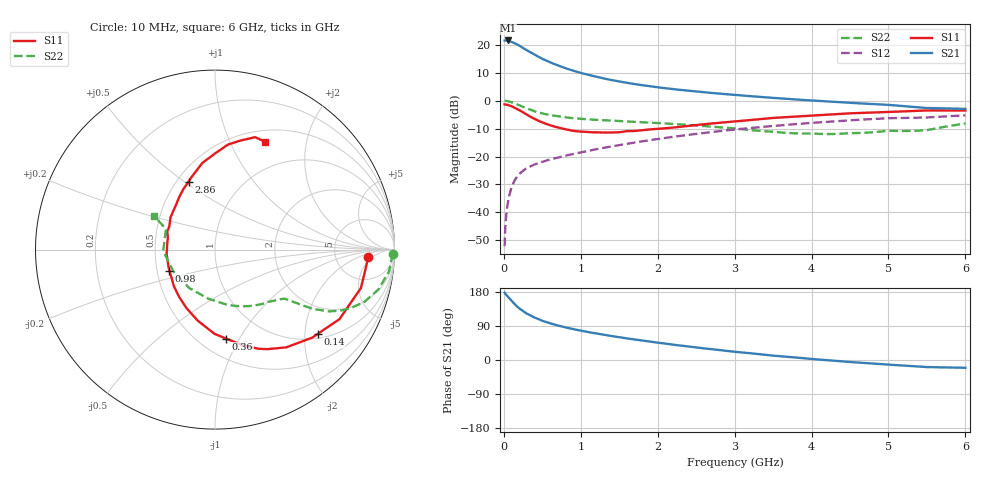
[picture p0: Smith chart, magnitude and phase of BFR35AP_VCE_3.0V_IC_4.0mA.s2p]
! Infineon Technologies  Discrete & RF Semiconductors
! BFR35AP
! VCE =  3.0 V,  IC =  4.0 mA
! Common Emitter S-Parameters:  Nov 2015
# GHz  S  MA  R  50
!  f  S11  S21  S12  S22
! GHz  MAG  ANG  MAG  ANG  MAG  ANG  MAG  ANG
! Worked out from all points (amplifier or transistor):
!   210 points, 10 MHz to 6 GHz, reference 50 ohm
!   highest |S21| = 21.5 dB at 50 MHz (marker M1)
!   |S21| within 3 dB of that: start of sweep to 267.6 MHz
!   unconditionally stable (mu >= 1): 871.9 MHz to 3.722 GHz
!   at 185 MHz: K = 0.34, MSG = 23.3 dB, |S12| = -26.8 dB
!   at 1.52 GHz: K = 1.14, MAG = 9.0 dB, |S12| = -15.8 dB
!   at 6 GHz: K = 0.97, MSG = 1.2 dB, |S12| = -5.3 dB
!   S11 on the Smith chart (normalised r, x): 10 MHz: 12, -4; 140 MHz: 1.12, -2.33; 360 MHz: 0.67, -0.88; 980 MHz: 0.58, -0.15; 2.86 GHz: 0.57, +0.52; 6 GHz: 0.64, +1.37
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0.01  0.8546 -2.9  11.8 177.7  0.0025 89.0  0.9934 -1.3
0.025  0.8456 -7.4  11.8 173.6  0.0071 83.8  0.9841 -3.5
0.05  0.8406 -14.8  11.84 167.7  0.0144 80.7  0.9767 -7.2
0.1  0.7944 -29.2  11.18 156.4  0.0279 74.8  0.9373 -13.7
0.14  0.7401 -39.4  10.56 147.4  0.0371 69.3  0.8929 -18.0
0.15  0.7305 -42.2  10.45 145.0  0.0395 68.3  0.8827 -19.2
0.2  0.6745 -53.8  9.609 136.3  0.0484 63.5  0.8238 -23.3
0.3  0.5586 -73.4  7.891 122.1  0.0626 57.6  0.7237 -28.4
0.36  0.4997 -82.8  7.102 116.4  0.0682 55.6  0.6748 -29.9
0.4  0.4695 -90.3  6.622 111.9  0.0719 54.5  0.6425 -31.1
0.5  0.407 -103.8  5.555 103.4  0.0802 53.3  0.5865 -32.3
0.6  0.3624 -116.1  4.818 96.9  0.0885 52.9  0.5516 -33.0
0.8  0.3074 -138.0  3.784 85.9  0.1032 52.8  0.5018 -34.2
0.98  0.28 -155.4  3.172 78.3  0.1165 53.9  0.4732 -35.4
1.02  0.2771 -158.9  3.064 76.7  0.1196 54.0  0.4687 -35.8
1.4  0.2687 171.4  2.317 63.3  0.1509 54.2  0.4381 -40.3
2.02  0.3136 139.0  1.71 45.3  0.2073 52.3  0.3949 -50.6
2.86  0.4061 111.3  1.309 25.0  0.2892 45.6  0.3284 -71.9
3.1  0.4349 106.0  1.23 19.9  0.3125 42.9  0.3066 -80.2
4.1  0.5481 88.1  0.982 1.1  0.4076 31.1  0.2535 -129.6
5.1  0.6321 75.4  0.815 -13.5  0.4856 17.0  0.2861 176.6
6  0.6632 65.0  0.71 -20.5  0.5439 6.4  0.3899 151.0
